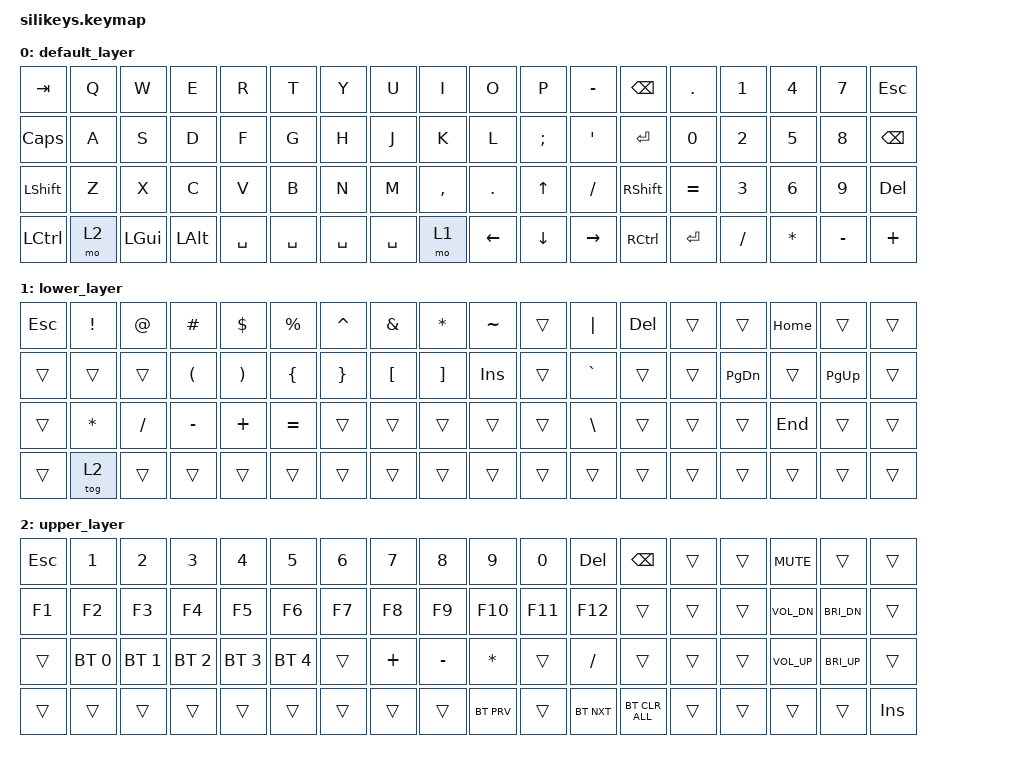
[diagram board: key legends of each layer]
#include <behaviors.dtsi>
#include <dt-bindings/zmk/keys.h>
#include <dt-bindings/zmk/bt.h>

/ {
        keymap {
                compatible = "zmk,keymap";

                default_layer {
// ---------------------------------------------------------------------------------
// |  TAB |  Q  |  W  |  E  |  R  |  T  |     |  Y  |  U  |  I  |  O  |  P  |  -   | bksc |
// | CAPS |  A  |  S  |  D  |  F  |  G  |     |  H  |  J  |  K  |  L  |  ;  |  '   |  ENT |
// | SHFT |  Z  |  X  |  C  |  V  |  B  |     |  N  |  M  |  ,  |  .  |UARW |  /   | SHFT |
// | CTRL |FUNC | GUI | ALT | SPC | SPC |     | SPC | SPC |STAR |LARW |DARW | RARW | DEV  |
                        bindings = <
   &kp TAB    &kp Q     &kp W     &kp E      &kp R      &kp T                &kp Y      &kp U     &kp I      &kp O     &kp P     &kp MINUS  &kp BSPC                           &kp DOT    &kp N1       &kp N4          &kp N7         &kp ESC
   &kp CAPS   &kp A     &kp S     &kp D      &kp F      &kp G                &kp H      &kp J     &kp K      &kp L     &kp SEMI  &kp APOS   &kp RET                            &kp N0     &kp N2       &kp N5          &kp N8         &kp BSPC
   &kp LSHFT  &kp Z     &kp X     &kp C      &kp V      &kp B                &kp N      &kp M     &kp COMMA  &kp DOT   &kp UP    &kp FSLH   &kp RSHFT                          &kp EQUAL  &kp N3       &kp N6          &kp N9         &kp DEL
   &kp LCTRL  &mo 2     &kp LGUI  &kp LALT   &kp SPACE  &kp SPACE            &kp SPACE  &kp SPACE &mo 1      &kp LEFT  &kp DOWN  &kp RIGHT  &kp RCTRL                          &kp ENTER  &kp SLASH    &kp ASTERISK    &kp MINUS      &kp PLUS
                        >;
                };

                lower_layer {
// ------------------------------------------------------------------------------------------------------------------------------------------------------
// |  ESC  |  EXCL |  AT   |  HASH |  DLLR | PRCNT |                                               | CARET |  AMPS | ASTRK | TILDE |       |  pipe |  DEL  |
// |       |       |       | LPAR  | RPAR  | LBRC  |                                               | RBRC  |  LBKT | RBKT  |       |       | GRAVE |       |
// |       |       |       |       |       |   =   |                                               |       |       |       |       |       |   \   |       |
// |       |       |       |       |  spc  |  spc  |                                               |  spc  |  spc  |       |       |       |       |       |
                        bindings = <
&kp ESC   &kp EXCL       &kp AT         &kp HASH       &kp DLLR       &kp PRCNT              &kp CARET &kp AMPS  &kp ASTRK &kp TILDE   &trans     &kp PIPE   &kp DEL                    &trans &trans    &kp HOME &trans    &trans
&trans    &trans         &trans         &kp LPAR       &kp RPAR       &kp LBRC               &kp RBRC  &kp LBKT  &kp RBKT  &kp INSERT  &trans     &kp GRAVE  &trans                     &trans &kp PG_DN &trans   &kp PG_UP &trans
&trans    &kp ASTRK      &kp FSLH       &kp MINUS      &kp PLUS       &kp EQUAL              &trans    &trans    &trans    &trans      &trans     &kp BSLH   &trans                     &trans &trans    &kp END  &trans    &trans
&trans    &tog 2         &trans         &trans         &trans         &trans                 &trans    &trans    &trans    &trans      &trans     &trans     &trans                     &trans &trans    &trans   &trans    &trans
                        >;
                };

                upper_layer {
// ------------------------------------------------------------------------------------------------------------------------------------------------------
// |  ESC  |  EXCL |  AT   |  HASH |  DLLR | PRCNT |                                               | CARET |  AMPS | ASTRK | TILDE |       |  pipe |  DEL  |
// |       |       |       | LPAR  | RPAR  | LBRC  |                                               | RBRC  |  LBKT | RBKT  |       |       | GRAVE |       |
// |       |  BT1  |  BT2  |  BT3  |  BT4  |  BT5  |                                               |       |       |       |       |       |   \   |       |
// |       |       |       |       |       |       |                                               |       |       |       |       |       |       |       |
                        bindings = <

&kp ESC   &kp N1         &kp N2         &kp N3         &kp N4         &kp N5                 &kp N6          &kp N7          &kp N8    &kp N9      &kp N0     &kp DEL    &kp BSPC                    &trans &trans &kp C_MUTE     &trans         &trans
&kp F1    &kp F2         &kp F3         &kp F4         &kp F5         &kp F6                 &kp F7          &kp F8          &kp F9    &kp F10     &kp F11    &kp F12    &trans                      &trans &trans &kp C_VOL_DN   &kp C_BRI_DN   &trans
&trans    &bt BT_SEL 0   &bt BT_SEL 1   &bt BT_SEL 2   &bt BT_SEL 3   &bt BT_SEL 4           &trans          &kp PLUS        &kp MINUS &kp ASTRK   &trans     &kp FSLH   &trans                      &trans &trans &kp C_VOL_UP   &kp C_BRI_UP   &trans
&trans    &trans         &trans         &trans         &trans         &trans                 &trans          &trans          &trans    &bt BT_PRV  &trans     &bt BT_NXT &bt BT_CLR_ALL              &trans &trans &trans         &trans         &kp INSERT
                        >;
                };
        };
};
